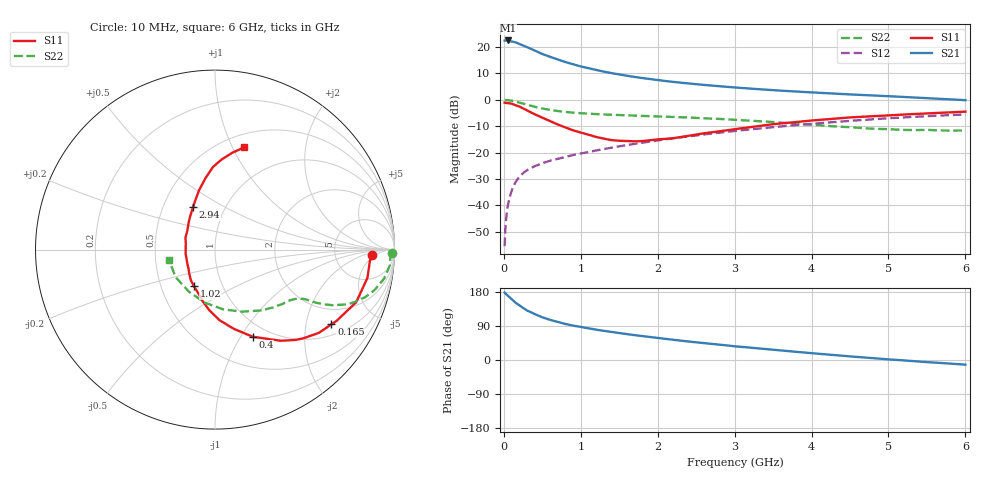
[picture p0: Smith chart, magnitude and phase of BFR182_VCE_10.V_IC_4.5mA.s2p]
! Infineon Technologies  Discrete & RF Semiconductors
! BFR182
! VCE =  10. V,  IC =  4.5 mA
! Common Emitter S-Parameters:  Nov 2015
# GHz  S  MA  R  50
!  f  S11  S21  S12  S22
! GHz  MAG  ANG  MAG  ANG  MAG  ANG  MAG  ANG
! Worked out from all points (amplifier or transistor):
!   210 points, 10 MHz to 6 GHz, reference 50 ohm
!   highest |S21| = 22.3 dB at 50 MHz (marker M1)
!   |S21| within 3 dB of that: start of sweep to 339.8 MHz
!   unconditionally stable (mu >= 1): 1.185 GHz to 3.027 GHz
!   at 185 MHz: K = 0.31, MSG = 25.5 dB, |S12| = -29.8 dB
!   at 1.52 GHz: K = 1.04, MAG = 12.2 dB, |S12| = -17.6 dB
!   at 6 GHz: K = 0.88, MSG = 2.7 dB, |S12| = -5.6 dB
!   S11 on the Smith chart (normalised r, x): 10 MHz: 14, -4; 165 MHz: 1.37, -2.80; 400 MHz: 0.84, -1.13; 1.02 GHz: 0.73, -0.31; 2.94 GHz: 0.71, +0.36; 6 GHz: 0.63, +1.11
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0.01  0.8751 -2.1  13.03 177.7  0.0017 86.1  0.9881 -1.0
0.025  0.8646 -5.1  13.05 174.7  0.0046 87.0  0.978 -2.5
0.05  0.8637 -10.5  13.09 170.1  0.0096 82.4  0.9787 -5.1
0.1  0.8394 -20.5  12.53 161.4  0.0187 78.3  0.9563 -9.7
0.15  0.7857 -30.3  12.11 151.5  0.0273 73.3  0.9183 -14.1
0.165  0.7706 -32.7  11.85 149.4  0.0295 72.2  0.9062 -15.1
0.2  0.7411 -38.8  11.32 144.2  0.0346 70.3  0.879 -17.5
0.24  0.6964 -45.3  10.66 138.6  0.0395 67.5  0.8468 -19.6
0.3  0.6262 -54.2  9.829 130.7  0.0461 64.8  0.7994 -22.4
0.4  0.5291 -66.6  8.498 121.0  0.0551 61.5  0.7283 -25.2
0.5  0.4554 -76.4  7.256 112.6  0.0626 60.1  0.6772 -26.8
0.64  0.3708 -89.7  6.133 103.8  0.0723 59.2  0.6256 -27.9
0.8  0.2976 -103.1  5.119 95.1  0.083 59.1  0.5838 -28.6
1.02  0.234 -120.3  4.164 86.4  0.0971 59.8  0.5502 -29.8
1.2  0.1963 -137.0  3.625 80.0  0.1093 60.3  0.5316 -31.0
1.4  0.1716 -154.5  3.158 74.0  0.1232 60.7  0.5168 -32.6
2.02  0.1779 156.7  2.312 57.7  0.1708 59.8  0.4815 -39.2
2.94  0.2679 117.1  1.722 37.6  0.2493 55.0  0.4204 -53.9
3.1  0.288 113.1  1.654 34.5  0.264 53.7  0.4064 -57.2
4.1  0.4129 96.2  1.342 16.3  0.3577 44.6  0.3267 -85.5
5.1  0.5131 84.4  1.14 0.3  0.4525 33.0  0.2709 -126.1
6  0.5913 74.2  0.975 -12.3  0.5228 20.5  0.2622 -167.8
